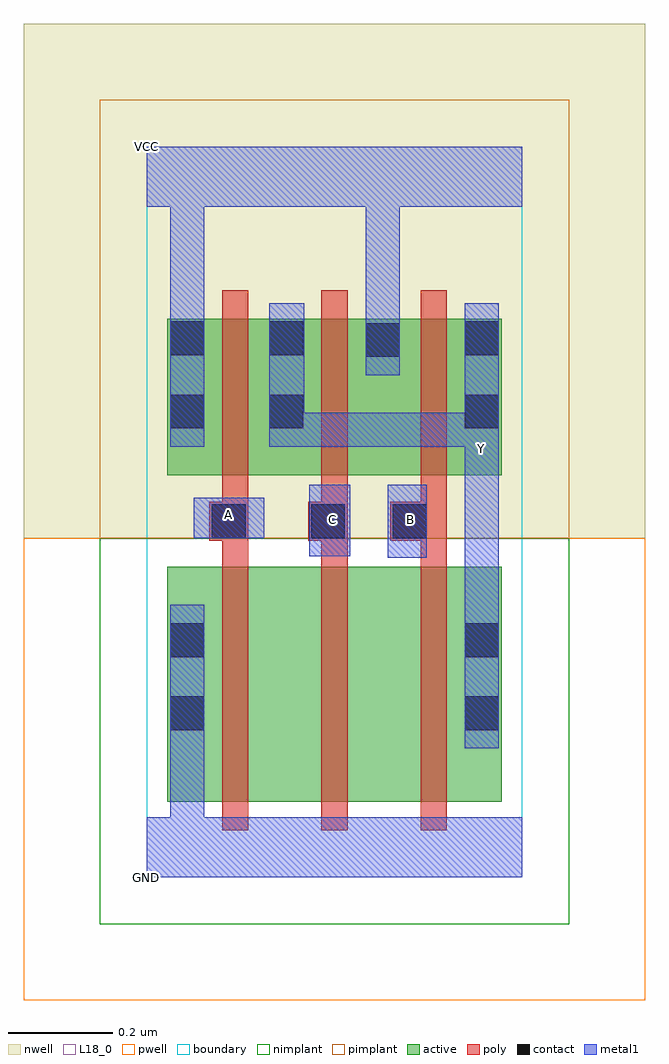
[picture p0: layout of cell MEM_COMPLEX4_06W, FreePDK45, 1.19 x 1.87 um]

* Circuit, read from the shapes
.subckt MEM_COMPLEX4_06W A B C GND VCC Y
M1 n1 A GND VSUBS nfet w=0.45u l=0.05u
M2 n2 C n1 VSUBS nfet w=0.45u l=0.05u
M3 Y B n2 VSUBS nfet w=0.45u l=0.05u
M4 Y A VCC n3 pfet w=0.3u l=0.05u
M5 VCC C Y n3 pfet w=0.3u l=0.05u
M6 Y B VCC n3 pfet w=0.3u l=0.05u
.ends

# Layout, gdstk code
import gdstk
lib = gdstk.Library(unit=1e-6, precision=1e-09)
def R(c, l, rs):  # rectangles x0, y0, x1, y1
    for r in rs: c.add(gdstk.rectangle(r[:2], r[2:], *l))
def A(c, l, x, y, w, h, nx, ny, dx, dy):  # array of equal rectangles
    R(c, l, [(x+i*dx, y+j*dy, x+i*dx+w, y+j*dy+h) for i in range(nx) for j in range(ny)])
active = (1, 0)
pwell = (2, 0)
nwell = (3, 0)
nimplant = (4, 0)
pimplant = (5, 0)
poly = (9, 0)
contact = (10, 0)
metal1 = (11, 0)
L18_0 = (18, 0)
boundary = (235, 0)

mem_complex4_06w = lib.new_cell('MEM_COMPLEX4_06W')
R(mem_complex4_06w, active, [(0.04,0.145,0.115,0.595), (0.04,0.145,0.265,0.595), (0.265,0.145,0.455,0.595), (0.455,0.145,0.68,0.595), (0.605,0.145,0.68,0.595), (0.04,0.77,0.115,1.07), (0.04,0.77,0.305,1.07), (0.23,0.77,0.305,1.07), (0.23,0.77,0.49,1.07), (0.415,0.77,0.68,1.07), (0.605,0.77,0.68,1.07), (0.415,0.887,0.49,1.07)])
R(mem_complex4_06w, pwell, [(-0.235,-0.235,0.955,0.65)])
R(mem_complex4_06w, nwell, [(-0.235,0.65,0.955,1.635)])
R(mem_complex4_06w, nimplant, [(-0.09,-0.09,0.81,0.65)])
R(mem_complex4_06w, pimplant, [(-0.09,0.65,0.81,1.49)])
A(mem_complex4_06w, poly, 0.145, 0.09, 0.05, 0.56, 3, 1, 0.19, 0)
A(mem_complex4_06w, poly, 0.145, 0.6, 0.05, 0.095, 3, 2, 0.19, 0.07)
A(mem_complex4_06w, poly, 0.145, 0.715, 0.05, 0.41, 3, 1, 0.19, 0)
R(mem_complex4_06w, poly, [(0.12,0.645,0.195,0.72), (0.31,0.645,0.385,0.72), (0.467,0.645,0.575,0.72)])
R(mem_complex4_06w, contact, [(0.045,0.282,0.11,0.347), (0.61,0.282,0.675,0.347), (0.045,0.422,0.11,0.487), (0.61,0.422,0.675,0.487), (0.125,0.65,0.19,0.715), (0.315,0.65,0.38,0.715), (0.472,0.65,0.537,0.715), (0.045,0.86,0.11,0.925), (0.235,0.86,0.3,0.925), (0.61,0.86,0.675,0.925), (0.42,0.997,0.485,1.062), (0.045,1,0.11,1.065), (0.235,1,0.3,1.065), (0.61,1,0.675,1.065)])
R(mem_complex4_06w, metal1, [(0,0,0.72,0.115), (0.045,0.05,0.11,0.115), (0.045,0.05,0.11,0.115), (0.045,0.05,0.11,0.312), (0.045,0.247,0.11,0.522), (0.61,0.247,0.675,0.522), (0.61,0.457,0.675,0.82), (0.462,0.612,0.537,0.752), (0.312,0.615,0.39,0.752), (0.09,0.65,0.225,0.727), (0.61,0.755,0.675,0.89), (0.045,0.825,0.11,1.1), (0.235,0.825,0.302,1.1), (0.237,0.825,0.302,0.89), (0.237,0.825,0.302,0.89), (0.237,0.825,0.537,0.89), (0.472,0.825,0.537,0.89), (0.472,0.825,0.592,0.89), (0.527,0.825,0.592,0.89), (0.527,0.825,0.675,0.89), (0.61,0.825,0.675,0.89), (0.61,0.825,0.675,1.1), (0.42,0.962,0.485,1.105), (0.045,1.035,0.11,1.1), (0.045,1.035,0.11,1.1), (0.045,1.035,0.11,1.1), (0.045,1.035,0.11,1.1), (0.045,1.035,0.11,1.35), (0.42,1.04,0.485,1.105), (0.42,1.04,0.485,1.105), (0.42,1.04,0.485,1.105), (0.42,1.04,0.485,1.105), (0.42,1.04,0.485,1.35), (0,1.285,0.72,1.4)])
R(mem_complex4_06w, L18_0, [(0,0,0.72,0.115), (0.045,0.05,0.11,0.115), (0.045,0.05,0.11,0.115), (0.045,0.05,0.11,0.312), (0.045,0.247,0.11,0.522), (0.61,0.247,0.675,0.522), (0.61,0.457,0.675,0.82), (0.462,0.612,0.537,0.752), (0.312,0.615,0.39,0.752), (0.09,0.65,0.225,0.727), (0.325,0.652,0.39,0.717), (0.472,0.652,0.537,0.717), (0.125,0.662,0.19,0.727), (0.61,0.755,0.675,0.89), (0.61,0.79,0.675,0.855), (0.045,0.825,0.11,1.1), (0.235,0.825,0.302,1.1), (0.237,0.825,0.302,0.89), (0.237,0.825,0.302,0.89), (0.237,0.825,0.537,0.89), (0.472,0.825,0.537,0.89), (0.472,0.825,0.592,0.89), (0.527,0.825,0.592,0.89), (0.527,0.825,0.675,0.89), (0.61,0.825,0.675,0.89), (0.61,0.825,0.675,1.1), (0.42,0.962,0.485,1.105), (0.045,1.035,0.11,1.1), (0.045,1.035,0.11,1.1), (0.045,1.035,0.11,1.1), (0.045,1.035,0.11,1.1), (0.045,1.035,0.11,1.35), (0.42,1.04,0.485,1.105), (0.42,1.04,0.485,1.105), (0.42,1.04,0.485,1.105), (0.42,1.04,0.485,1.105), (0.42,1.04,0.485,1.35), (0,1.285,0.72,1.4)])
R(mem_complex4_06w, boundary, [(0,0,0.72,1.4)])
mem_complex4_06w.add(gdstk.Label('A', (0.157,0.695), layer=11, texttype=0))
mem_complex4_06w.add(gdstk.Label('B', (0.505,0.685), layer=11, texttype=0))
mem_complex4_06w.add(gdstk.Label('C', (0.357,0.685), layer=11, texttype=0))
mem_complex4_06w.add(gdstk.Label('Y', (0.642,0.822), layer=11, texttype=0))
mem_complex4_06w.add(gdstk.Label('VCC', (0,1.4), layer=11, texttype=0))
mem_complex4_06w.add(gdstk.Label('GND', (0,0), layer=11, texttype=0))

lib.write_gds('MEM_COMPLEX4_06W.gds')
